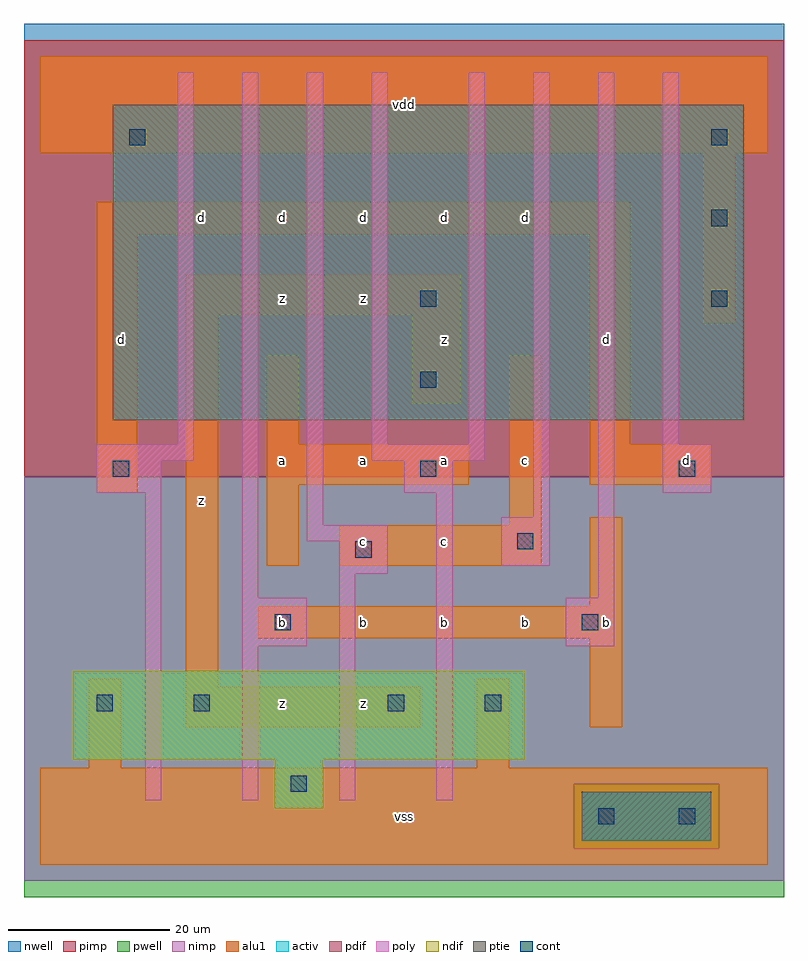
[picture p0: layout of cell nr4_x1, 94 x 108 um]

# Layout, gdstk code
import gdstk
lib = gdstk.Library(unit=1e-6, precision=1e-09)
def R(c, l, rs):  # rectangles x0, y0, x1, y1
    for r in rs: c.add(gdstk.rectangle(r[:2], r[2:], *l))
def A(c, l, x, y, w, h, nx, ny, dx, dy):  # array of equal rectangles
    R(c, l, [(x+i*dx, y+j*dy, x+i*dx+w, y+j*dy+h) for i in range(nx) for j in range(ny)])
ndif = (3, 0)
pdif = (4, 0)
ptie = (6, 0)
cont = (25, 0)
pwell = (41, 0)
nwell = (42, 0)
activ = (43, 0)
pimp = (44, 0)
nimp = (45, 0)
poly = (46, 0)
alu1 = (49, 0)

nr4_x1 = lib.new_cell('nr4_x1')
R(nr4_x1, ndif, [(29,7,35,13), (4,13,60,24)])
R(nr4_x1, pdif, [(9,55,87,94)])
R(nr4_x1, ptie, [(67,3,83,9)])
A(nr4_x1, cont, 83, 69, 2, 2, 1, 3, 0, 10)
R(nr4_x1, cont, [(69,5,71,7), (79,5,81,7), (31,9,33,11), (7,19,9,21), (19,19,21,21), (43,19,45,21), (55,19,57,21), (29,29,31,31), (67,29,69,31), (39,38,41,40), (59,39,61,41), (9,48,11,50), (47,48,49,50), (79,48,81,50), (47,59,49,61), (47,69,49,71), (11,89,13,91)])
R(nr4_x1, pwell, [(-2,-4,92,48)])
R(nr4_x1, nwell, [(-2,48,92,104)])
R(nr4_x1, activ, [(67,3,83,9), (29,7,35,13), (4,13,60,24), (9,55,87,94)])
R(nr4_x1, pimp, [(66,2,84,10), (-2,48,92,102)])
R(nr4_x1, nimp, [(-2,-2,92,2), (-2,2,66,10), (84,2,92,10), (-2,10,92,48)])
R(nr4_x1, poly, [(13,8,15,46), (25,8,27,27), (37,8,39,36), (49,8,51,46), (25,27,33,33), (65,27,71,33), (25,33,27,98), (69,33,71,98), (37,36,43,40), (57,37,63,43), (33,40,43,42), (33,42,35,98), (61,43,63,98), (7,46,15,50), (45,46,51,50), (77,46,83,52), (7,50,19,52), (41,50,55,52), (17,52,19,98), (41,52,43,98), (53,52,55,98), (77,52,79,98)])
R(nr4_x1, alu1, [(0,0,90,12), (6,12,10,23), (54,12,58,23), (18,17,47,22), (68,17,72,28), (18,22,22,68), (27,28,72,32), (68,32,72,43), (28,37,32,47), (37,37,62,42), (58,42,62,63), (7,46,12,78), (28,47,53,52), (68,47,83,52), (28,52,32,63), (68,52,73,78), (46,57,52,68), (82,67,86,88), (18,68,52,73), (7,78,73,82), (0,88,90,100)])
nr4_x1.add(gdstk.Label('d', (10,65), layer=49, texttype=0))
nr4_x1.add(gdstk.Label('z', (30,20), layer=49, texttype=0))
nr4_x1.add(gdstk.Label('b', (30,30), layer=49, texttype=0))
nr4_x1.add(gdstk.Label('z', (20,45), layer=49, texttype=0))
nr4_x1.add(gdstk.Label('a', (30,50), layer=49, texttype=0))
nr4_x1.add(gdstk.Label('z', (30,70), layer=49, texttype=0))
nr4_x1.add(gdstk.Label('d', (30,80), layer=49, texttype=0))
nr4_x1.add(gdstk.Label('d', (20,80), layer=49, texttype=0))
nr4_x1.add(gdstk.Label('vss', (45,6), layer=49, texttype=0))
nr4_x1.add(gdstk.Label('z', (40,20), layer=49, texttype=0))
nr4_x1.add(gdstk.Label('b', (40,30), layer=49, texttype=0))
nr4_x1.add(gdstk.Label('b', (50,30), layer=49, texttype=0))
nr4_x1.add(gdstk.Label('c', (50,40), layer=49, texttype=0))
nr4_x1.add(gdstk.Label('c', (40,40), layer=49, texttype=0))
nr4_x1.add(gdstk.Label('a', (50,50), layer=49, texttype=0))
nr4_x1.add(gdstk.Label('a', (40,50), layer=49, texttype=0))
nr4_x1.add(gdstk.Label('z', (40,70), layer=49, texttype=0))
nr4_x1.add(gdstk.Label('z', (50,65), layer=49, texttype=0))
nr4_x1.add(gdstk.Label('d', (50,80), layer=49, texttype=0))
nr4_x1.add(gdstk.Label('d', (40,80), layer=49, texttype=0))
nr4_x1.add(gdstk.Label('vdd', (45,94), layer=49, texttype=0))
nr4_x1.add(gdstk.Label('b', (70,30), layer=49, texttype=0))
nr4_x1.add(gdstk.Label('b', (60,30), layer=49, texttype=0))
nr4_x1.add(gdstk.Label('c', (60,50), layer=49, texttype=0))
nr4_x1.add(gdstk.Label('d', (70,65), layer=49, texttype=0))
nr4_x1.add(gdstk.Label('d', (60,80), layer=49, texttype=0))
nr4_x1.add(gdstk.Label('d', (80,50), layer=49, texttype=0))

lib.write_gds('nr4_x1.gds')
